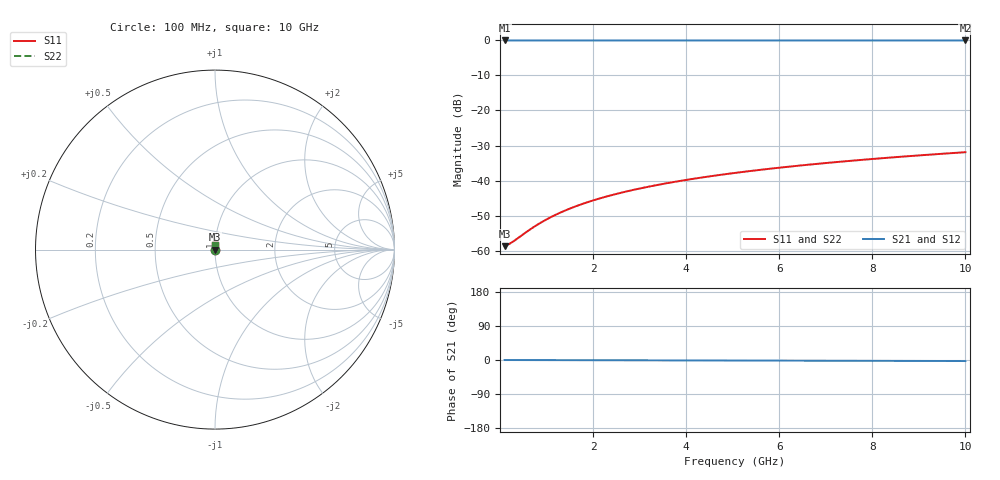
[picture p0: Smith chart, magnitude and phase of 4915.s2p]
# Hz S RI R 50.00
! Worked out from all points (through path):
!   100 points, 100 MHz to 10 GHz, reference 50 ohm
!   highest |S21| = -0.01 dB at 100 MHz (marker M1); lowest = 0.0 dB at 10 GHz (marker M2)
!   lowest |S11| = -58.7 dB at 100 MHz (marker M3), VSWR 1.00, Z = 50.1 + j0.0253 ohm
!   |S11| at or under -10 dB: start of sweep to end of sweep
!   |S22| runs from -58.7 to -31.9 dB; largest |S21 - S12| = 0
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1e8  0.00113 0.000253  0.9989 -0.000477  0.9989 -0.000477  0.00113 0.000253
2e8  0.00114 0.000505  0.9989 -0.000953  0.9989 -0.000953  0.00114 0.000505
3e8  0.00114 0.000758  0.9989 -0.00143  0.9989 -0.00143  0.00114 0.000758
7e8  0.00116 0.00177  0.9988 -0.00334  0.9988 -0.00334  0.00116 0.00177
8e8  0.00117 0.00202  0.9988 -0.00381  0.9988 -0.00381  0.00117 0.00202
1e9  0.00118 0.00253  0.9988 -0.00477  0.9988 -0.00477  0.00118 0.00253
1.2e9  0.00119 0.00303  0.9988 -0.00572  0.9988 -0.00572  0.00119 0.00303
1.4e9  0.0012 0.00354  0.9988 -0.00667  0.9988 -0.00667  0.0012 0.00354
1.6e9  0.00121 0.00404  0.9988 -0.00763  0.9988 -0.00763  0.00121 0.00404
1.8e9  0.00122 0.00455  0.9988 -0.00858  0.9988 -0.00858  0.00122 0.00455
2.1e9  0.00124 0.00531  0.9987 -0.01  0.9987 -0.01  0.00124 0.00531
2.5e9  0.00126 0.00632  0.9987 -0.0119  0.9987 -0.0119  0.00126 0.00632
2.9e9  0.00129 0.00733  0.9987 -0.0138  0.9987 -0.0138  0.00129 0.00733
3.4e9  0.00134 0.00859  0.9986 -0.0162  0.9986 -0.0162  0.00134 0.00859
3.8e9  0.00138 0.0096  0.9986 -0.0181  0.9986 -0.0181  0.00138 0.0096
4.2e9  0.00142 0.0106  0.9985 -0.02  0.9985 -0.02  0.00142 0.0106
5.1e9  0.00153 0.0129  0.9984 -0.0243  0.9984 -0.0243  0.00153 0.0129
5.9e9  0.00164 0.0149  0.9983 -0.0281  0.9983 -0.0281  0.00164 0.0149
6.7e9  0.00177 0.0169  0.9981 -0.032  0.9981 -0.032  0.00177 0.0169
7.5e9  0.00192 0.0189  0.9979 -0.0358  0.9979 -0.0358  0.00192 0.0189
8.4e9  0.0021 0.0212  0.9977 -0.0401  0.9977 -0.0401  0.0021 0.0212
1e10  0.00247 0.0253  0.9973 -0.0477  0.9973 -0.0477  0.00247 0.0253
